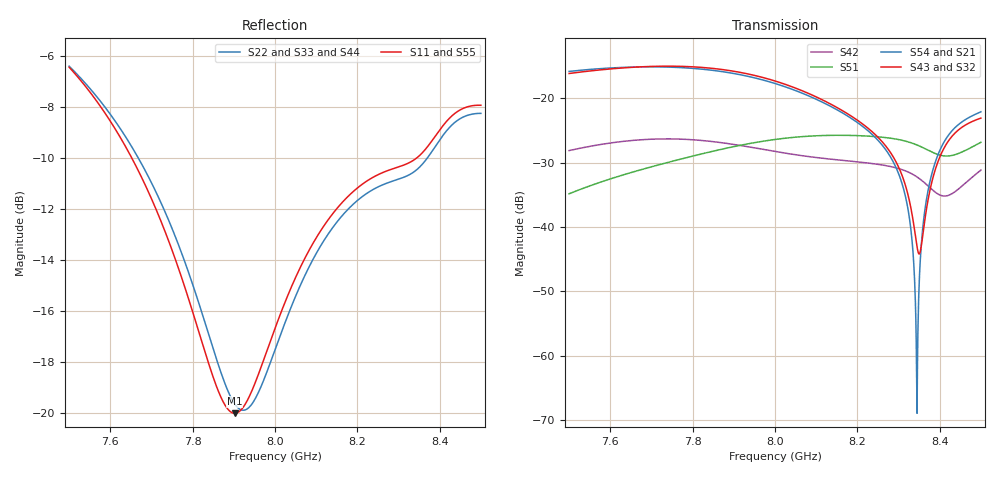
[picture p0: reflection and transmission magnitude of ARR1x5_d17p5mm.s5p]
! Touchstone file exported from HFSS 2025.1.0
!  File:  C:/Users/user/Documents/Ansoft/TFG_UWB-MIMO-Array.aedt
!  Generated:  04:10:08 PM Nov 20, 2026
!  Design:  ARR1x5_US3_PS6_4_dparam
!  Project:  TFG_UWB-MIMO-Array
!  Setup:  Setup_ch9
!  Solution:  Sweep_7p5_8p5
! Variables:
!  arr_d = 17.5mm
!  board_m = 13mm
!  board_x = 96mm
!  board_y = 26mm
!  cu_t = 0.035mm
!  line_w = 3.92mm
!  pad_xy = 22mm
!  pad_zn = 25mm
!  pad_zp = 33mm
!  par_L = 7.05mm
!  par_W = 13.58mm
!  par_yc = 0.615mm
!  par_z = 1.035mm
!  patch_L = 6.29mm
!  patch_W = 14mm
!  sub_h = 2.07mm
!  tr_l = 7.25mm
!  tr_w = 1mm
!  u_Lu = 2.65mm
!  u_Wu = 4.4mm
!  u_t = 0.8mm
!  u_y0 = -0.7mm
# GHz S MA R 50.000000
! Terminal data exported
! Port[1] = P1
! Port[2] = P2
! Port[3] = P3
! Port[4] = P4
! Port[5] = P5
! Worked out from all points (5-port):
!   1001 points, 7.5 GHz to 8.5 GHz, reference 50 ohm
!   strongest paths, dB at 7.5 GHz, 7.75 GHz, 8 GHz, 8.25 GHz, 8.5 GHz:
!     S43: -16.2, -15.0, -17.3, -26.1, -23.1
!     S32: -16.1, -15.0, -17.3, -26.2, -23.2
!     S54: -15.8, -15.2, -17.7, -26.5, -22.1
!     S21: -15.8, -15.2, -17.7, -26.4, -22.2
!     S51: -34.8, -29.8, -26.4, -26.0, -26.8
!     S42: -28.1, -26.3, -28.3, -30.3, -31.2
!   lowest |S11| = -20.0 dB at 7.902 GHz (marker M1), VSWR 1.22, Z = 60.5 - j3.23 ohm
!   |S11| at or under -10 dB: 7.652 GHz to 8.344 GHz (691.5 MHz wide, 8.65 % of centre)
